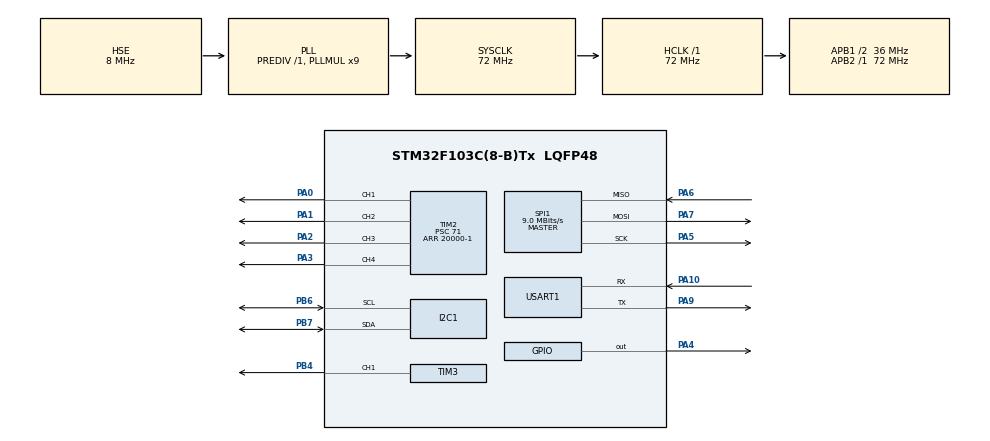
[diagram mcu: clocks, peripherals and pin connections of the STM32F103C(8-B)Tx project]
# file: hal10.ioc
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FREERTOS.Queues01=CMD,16,CommandType_t,0,Dynamic,NULL,NULL
FREERTOS.Tasks01=OLED,25,128,StartOLED,As weak,NULL,Dynamic,NULL,NULL;ACTION,27,128,StartAction,As weak,NULL,Dynamic,NULL,NULL;UART,29,128,StartUART,As weak,NULL,Dynamic,NULL,NULL
I2C1.I2C_Mode=I2C_Fast
Mcu.Family=STM32F1
Mcu.Name=STM32F103C(8-B)Tx
Mcu.Package=LQFP48
NVIC.PriorityGroup=NVIC_PRIORITYGROUP_4
NVIC.TIM4_IRQn=true\:15\:0\:false\:false\:true\:false\:false\:true\:true
NVIC.TimeBase=TIM4_IRQn
NVIC.TimeBaseIP=TIM4
PA0-WKUP.Signal=S_TIM2_CH1_ETR
PA1.Signal=S_TIM2_CH2
PA10.Mode=Asynchronous
PA10.Signal=USART1_RX
PA13.Mode=Serial_Wire
PA13.Signal=SYS_JTMS-SWDIO
PA14.Mode=Serial_Wire
PA14.Signal=SYS_JTCK-SWCLK
PA2.Signal=S_TIM2_CH3
PA3.Signal=S_TIM2_CH4
PA4.GPIO_PuPd=GPIO_PULLUP
PA4.GPIO_Speed=GPIO_SPEED_FREQ_HIGH
PA4.PinState=GPIO_PIN_SET
PA4.Signal=GPIO_Output
PA5.Mode=Full_Duplex_Master
PA5.Signal=SPI1_SCK
PA6.Mode=Full_Duplex_Master
PA6.Signal=SPI1_MISO
PA7.Mode=Full_Duplex_Master
PA7.Signal=SPI1_MOSI
PA9.Mode=Asynchronous
PA9.Signal=USART1_TX
PB4.Signal=S_TIM3_CH1
PB6.Mode=I2C
PB6.Signal=I2C1_SCL
PB7.Mode=I2C
PB7.Signal=I2C1_SDA
PC14-OSC32_IN.Mode=LSE-External-Oscillator
PC14-OSC32_IN.Signal=RCC_OSC32_IN
PC15-OSC32_OUT.Mode=LSE-External-Oscillator
PC15-OSC32_OUT.Signal=RCC_OSC32_OUT
PD0-OSC_IN.Mode=HSE-External-Oscillator
PD0-OSC_IN.Signal=RCC_OSC_IN
PD1-OSC_OUT.Mode=HSE-External-Oscillator
PD1-OSC_OUT.Signal=RCC_OSC_OUT
ProjectManager.HeapSize=0x200
ProjectManager.StackSize=0x400
ProjectManager.TargetToolchain=MDK-ARM V5.32
RCC.AHBFreq_Value=72000000
RCC.APB1CLKDivider=RCC_HCLK_DIV2
RCC.APB1Freq_Value=36000000
RCC.APB1TimFreq_Value=72000000
RCC.APB2Freq_Value=72000000
RCC.APB2TimFreq_Value=72000000
RCC.HCLKFreq_Value=72000000
RCC.PLLMUL=RCC_PLL_MUL9
RCC.PLLSourceVirtual=RCC_PLLSOURCE_HSE
RCC.SYSCLKFreq_VALUE=72000000
RCC.SYSCLKSource=RCC_SYSCLKSOURCE_PLLCLK
RCC.USBFreq_Value=72000000
SH.S_TIM2_CH1_ETR.0=TIM2_CH1,PWM Generation1 CH1
SH.S_TIM2_CH2.0=TIM2_CH2,PWM Generation2 CH2
SH.S_TIM2_CH3.0=TIM2_CH3,PWM Generation3 CH3
SH.S_TIM2_CH4.0=TIM2_CH4,PWM Generation4 CH4
SH.S_TIM3_CH1.0=TIM3_CH1,PWM Generation1 CH1
SPI1.BaudRatePrescaler=SPI_BAUDRATEPRESCALER_8
SPI1.CalculateBaudRate=9.0 MBits/s
SPI1.Direction=SPI_DIRECTION_2LINES
SPI1.Mode=SPI_MODE_MASTER
SPI1.VirtualType=VM_MASTER
TIM2.AutoReloadPreload=TIM_AUTORELOAD_PRELOAD_ENABLE
TIM2.Channel-PWM\ Generation1\ CH1=TIM_CHANNEL_1
TIM2.Channel-PWM\ Generation2\ CH2=TIM_CHANNEL_2
TIM2.Channel-PWM\ Generation3\ CH3=TIM_CHANNEL_3
TIM2.Channel-PWM\ Generation4\ CH4=TIM_CHANNEL_4
TIM2.Period=20000-1
TIM2.Prescaler=71
TIM3.AutoReloadPreload=TIM_AUTORELOAD_PRELOAD_ENABLE
TIM3.Channel-PWM\ Generation1\ CH1=TIM_CHANNEL_1
TIM3.Period=20000-1
TIM3.Prescaler=71
USART1.VirtualMode=VM_ASYNC
VP_FREERTOS_VS_CMSIS_V2.Mode=CMSIS_V2
VP_SYS_VS_tim4.Mode=TIM4
board=custom

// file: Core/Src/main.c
/* USER CODE BEGIN Header */
/**
  ******************************************************************************
  * @file           : main.c
  * @brief          : Main program body
  ******************************************************************************
  * @attention
  *
  * Copyright (c) 2026 STMicroelectronics.
  * All rights reserved.
  *
  * This software is licensed under terms that can be found in the LICENSE file
  * in the root directory of this software component.
  * If no LICENSE file comes with this software, it is provided AS-IS.
  *
  ******************************************************************************
  */
/* USER CODE END Header */
#include "main.h"
#include "cmsis_os.h"
#include "i2c.h"
#include "spi.h"
#include "tim.h"
#include "usart.h"
#include "gpio.h"

/* USER CODE BEGIN Includes */
#include "cmsis_os2.h"
#include "command.h"
#include "bsp_uart.h"
#include <string.h>
/* USER CODE END Includes */

/* USER CODE BEGIN PV */
/* 串口接收缓冲区 - 用于存储从串口接收到的数据 */
uint8_t uart_rx_buffer[10];
/* USER CODE END PV */

void SystemClock_Config(void);
void MX_FREERTOS_Init(void);

/**
  * @brief  应用程序主入口函数
  * @retval int 程序退出码(通常不会返回)
  * @note   这是STM32程序的启动点，按照以下顺序初始化：
  *         1. HAL库初始化
  *         2. 系统时钟配置
  *         3. 外设初始化
  *         4. FreeRTOS任务创建
  *         5. 启动任务调度器
  */
int main(void)
{

  /* USER CODE BEGIN 1 */
  /* 用户自定义初始化代码区域 */
  /* USER CODE END 1 */

  /* MCU Configuration--------------------------------------------------------*/

  /* 复位所有外设，初始化Flash接口和SysTick定时器 */
  HAL_Init();

  /* 配置系统时钟 - 设置CPU主频和外设时钟 */
  SystemClock_Config();

  /* USER CODE BEGIN SysInit */
  /* 用户自定义系统初始化代码区域 */
  /* USER CODE END SysInit */

  /* 初始化所有配置的外设 */
  MX_GPIO_Init();      // GPIO引脚初始化
  MX_I2C1_Init();      // I2C1接口初始化(用于OLED)
  MX_SPI1_Init();      // SPI1接口初始化(用于W25Q64 Flash)
  MX_TIM2_Init();
  MX_TIM3_Init();
  MX_USART1_UART_Init();
  /* USER CODE BEGIN 2 */

  // 启动PWM定时器 - 舵机控制必须启动PWM输出
  HAL_TIM_PWM_Start(&htim2, TIM_CHANNEL_1);  // 舵机1
  HAL_TIM_PWM_Start(&htim2, TIM_CHANNEL_2);  // 舵机2
  HAL_TIM_PWM_Start(&htim2, TIM_CHANNEL_3);  // 舵机3
  HAL_TIM_PWM_Start(&htim2, TIM_CHANNEL_4);  // 舵机4
  HAL_TIM_PWM_Start(&htim3, TIM_CHANNEL_1);  // 尾巴舵机

  // 串口初始化
  BSP_UART_Init();

  // 发送一句话

  /* USER CODE END 2 */

  /* Init scheduler */
  osKernelInitialize();  /* Call init function for freertos objects (in cmsis_os2.c) */
  MX_FREERTOS_Init();

  /* Start scheduler */
  osKernelStart();

  /* We should never get here as control is now taken by the scheduler */

  /* Infinite loop */
  while (1)
  {

  }
}

void SystemClock_Config(void)
{
  RCC_OscInitTypeDef RCC_OscInitStruct = {0};
  RCC_ClkInitTypeDef RCC_ClkInitStruct = {0};

  /** Initializes the RCC Oscillators according to the specified parameters
  * in the RCC_OscInitTypeDef structure.
  */
  RCC_OscInitStruct.OscillatorType = RCC_OSCILLATORTYPE_HSE;
  RCC_OscInitStruct.HSEState = RCC_HSE_ON;
  RCC_OscInitStruct.HSEPredivValue = RCC_HSE_PREDIV_DIV1;
  RCC_OscInitStruct.HSIState = RCC_HSI_ON;
  RCC_OscInitStruct.PLL.PLLState = RCC_PLL_ON;
  RCC_OscInitStruct.PLL.PLLSource = RCC_PLLSOURCE_HSE;
  RCC_OscInitStruct.PLL.PLLMUL = RCC_PLL_MUL9;
  if (HAL_RCC_OscConfig(&RCC_OscInitStruct) != HAL_OK)
  {
    Error_Handler();
  }

  /** Initializes the CPU, AHB and APB buses clocks
  */
  RCC_ClkInitStruct.ClockType = RCC_CLOCKTYPE_HCLK|RCC_CLOCKTYPE_SYSCLK
                              |RCC_CLOCKTYPE_PCLK1|RCC_CLOCKTYPE_PCLK2;
  RCC_ClkInitStruct.SYSCLKSource = RCC_SYSCLKSOURCE_PLLCLK;
  RCC_ClkInitStruct.AHBCLKDivider = RCC_SYSCLK_DIV1;
  RCC_ClkInitStruct.APB1CLKDivider = RCC_HCLK_DIV2;
  RCC_ClkInitStruct.APB2CLKDivider = RCC_HCLK_DIV1;

  if (HAL_RCC_ClockConfig(&RCC_ClkInitStruct, FLASH_LATENCY_2) != HAL_OK)
  {
    Error_Handler();
  }
}

void HAL_TIM_PeriodElapsedCallback(TIM_HandleTypeDef *htim)
{
  if (htim->Instance == TIM4)
  {
    HAL_IncTick();
  }
}

void Error_Handler(void)
{
  __disable_irq();
  while (1)
  {
  }
}

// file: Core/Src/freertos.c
/* USER CODE BEGIN Header */
/**
  ******************************************************************************
  * File Name          : freertos.c
  * Description        : Code for freertos applications
  ******************************************************************************
  * @attention
  *
  * Copyright (c) 2026 STMicroelectronics.
  * All rights reserved.
  *
  * This software is licensed under terms that can be found in the LICENSE file
  * in the root directory of this software component.
  * If no LICENSE file comes with this software, it is provided AS-IS.
  *
  ******************************************************************************
  */
/* USER CODE END Header */

#include "FreeRTOS.h"
#include "task.h"
#include "main.h"
#include "cmsis_os.h"

/* USER CODE BEGIN Includes */
#include "bsp_oled_debug.h"
#include "w25q64.h"
#include "tim.h"
#include "action.h"
#include "command.h"
#include "bsp_ota_boot.h"
#include "bsp_uart.h"
#include <stdio.h>
#include <stdarg.h>
#include <string.h>
/* USER CODE END Includes */

/* USER CODE BEGIN Variables */
/* 串口接收完成标志 */
volatile uint8_t uart_rx_complete = 0;  // 用于指示串口接收是否完成
/* USER CODE END Variables */
/* FreeRTOS任务和队列定义 */

/* OLED显示任务定义 */
osThreadId_t OLEDHandle;  // OLED任务句柄
const osThreadAttr_t OLED_attributes = {
  .name = "OLED",           // 任务名称
  .stack_size = 128 * 4,     // 堆栈大小(512字节)
  .priority = (osPriority_t) osPriorityNormal1,  // 任务优先级
};
/* 动作控制任务定义 */
osThreadId_t ACTIONHandle;  // 动作任务句柄
const osThreadAttr_t ACTION_attributes = {
  .name = "ACTION",          // 任务名称
  .stack_size = 128 * 4,     // 堆栈大小(512字节)
  .priority = (osPriority_t) osPriorityNormal3,  // 任务优先级(高于OLED任务)
};
/* 串口通信任务定义 */
osThreadId_t UARTHandle;  // 串口任务句柄
const osThreadAttr_t UART_attributes = {
  .name = "UART",           // 任务名称
  .stack_size = 128 * 4,     // 堆栈大小(512字节)
  .priority = (osPriority_t) osPriorityNormal5,  // 任务优先级(最高)
};
/* 指令消息队列定义 */
osMessageQueueId_t CMDHandle;  // 指令队列句柄
const osMessageQueueAttr_t CMD_attributes = {
  .name = "CMD"  // 队列名称
};

/* USER CODE BEGIN FunctionPrototypes */
/**
  * @brief  串口调试打印函数
  * @param  fmt: 格式化字符串
  * @param  ...: 可变参数
  * @retval None
  * @note   用于通过串口输出调试信息，支持格式化字符串
  */
static void UART_DebugPrintf(const char *fmt, ...);

/* USER CODE END FunctionPrototypes */

void StartOLED(void *argument);
void StartAction(void *argument);
void StartUART(void *argument);

void MX_FREERTOS_Init(void); /* (MISRA C 2004 rule 8.1) */

void MX_FREERTOS_Init(void) {

  /* Create the queue(s) */
  /* creation of CMD */
  CMDHandle = osMessageQueueNew (16, sizeof(CommandType_t), &CMD_attributes);

  /* USER CODE BEGIN RTOS_QUEUES */
  /* 使用系统生成的CMD队列，无需创建额外队列 */
  /* USER CODE END RTOS_QUEUES */

  /* Create the thread(s) */
  /* creation of OLED */
  OLEDHandle = osThreadNew(StartOLED, NULL, &OLED_attributes);

  /* creation of ACTION */
  ACTIONHandle = osThreadNew(StartAction, NULL, &ACTION_attributes);

  /* creation of UART */
  UARTHandle = osThreadNew(StartUART, NULL, &UART_attributes);

}

static void UART_DebugPrintf(const char *fmt, ...)
{
  char buffer[UART_TX_BUFFER_SIZE];
  va_list args;

  if (BSP_OTA_UART_IsQuietWindowActive()) {
    return;
  }

  va_start(args, fmt);
  vsnprintf(buffer, sizeof(buffer), fmt, args);
  va_end(args);

  BSP_UART_Send((uint8_t *)buffer, (uint16_t)strlen(buffer));
}

__weak void StartOLED(void *argument)
{
  /* USER CODE BEGIN StartOLED */
  static unsigned char face_buffer[1024]; // 表情数据缓冲区
  CommandType_t last_command = CMD_NONE; // 记录上次显示的指令

  // OLED初始化
  OLED_Init();
  OLED_CLS();

  // 显示初始表情
  W25Q64_Read_Data(BMP4_STORAGE_ADDR, face_buffer, FACE_SIZE);
  OLED_DrawBMP(0, 0, 128, 8, face_buffer);

  /* Infinite loop */
  for(;;)
  {
    // 检查当前指令状态
    CommandType_t current_cmd = GetCurrentCommand();

    // 只有当指令发生变化时才更新显示
    if (current_cmd != last_command)
    {
      last_command = current_cmd;

      if (current_cmd != CMD_NONE && current_cmd != CMD_STOP)
      {
        // 根据指令获取对应的表情数据
        const CommandData_t* cmd_data = GetCommandData(current_cmd);
        if (cmd_data && cmd_data->face_addr != 0)
        {
          // 读取并显示对应的表情
          W25Q64_Read_Data(cmd_data->face_addr, face_buffer, FACE_SIZE);
          OLED_CLS();
		  osDelay(100);
          OLED_DrawBMP(0, 0, 128, 8, face_buffer);
        }
      }
      else if (current_cmd == CMD_STOP || current_cmd == CMD_NONE)
      {
        // 停止显示，清屏，显示初始表情
        W25Q64_Read_Data(BMP4_STORAGE_ADDR, face_buffer, FACE_SIZE);
        OLED_CLS();
		osDelay(100);
        OLED_DrawBMP(0, 0, 128, 8, face_buffer);
      }
    }

    // 短暂延迟
    osDelay(100);
  }
  /* USER CODE END StartOLED */
}

__weak void StartAction(void *argument)
{
  /* USER CODE BEGIN StartAction */
  CommandType_t received_cmd;
  uint32_t action_start_time = 0;
  uint16_t action_duration = 0;
  CommandType_t current_processing_cmd = CMD_NONE;

  // 初始化舵机到站立位置
  Action_upright();
  osDelay(500);

  /* Infinite loop */
  for(;;)
  {
    // 非阻塞方式检查是否有新指令（不等待，立即返回）
    if (osMessageQueueGet(CMDHandle, &received_cmd, NULL, 0) == osOK)
    {
      UART_DebugPrintf("[ACTION] Got cmd: %d, current: %d\r\n", received_cmd, current_processing_cmd);

      // 如果收到停止命令
      if (received_cmd == CMD_STOP)
      {
        UART_DebugPrintf("[ACTION] Stopping current action\r\n");
        Action_Mode = 0;
        Action_upright();
        osDelay(100); // 确保动作停止
        current_processing_cmd = CMD_NONE;
        CurrentCommand = CMD_NONE;
      }
      // 如果收到新命令且与当前处理命令不同
      else if (received_cmd != current_processing_cmd)
      {
        UART_DebugPrintf("[ACTION] Switching to new action\r\n");
        // 先停止当前动作
        Action_Mode = 0;
        Action_upright();
        osDelay(100); // 确保动作停止

        // 设置新命令
        current_processing_cmd = received_cmd;
        CurrentCommand = received_cmd;

        // 获取命令数据并开始执行
        const CommandData_t* cmd_data = GetCommandData(current_processing_cmd);
        if (cmd_data)
        {
          Action_Mode = cmd_data->action_mode;
          action_duration = cmd_data->duration;
          action_start_time = osKernelGetTickCount();
          UART_DebugPrintf("[ACTION] Starting action mode: %d, duration: %d\r\n",
                           Action_Mode, action_duration);
        }
      }
      // 收到相同命令，重新开始计时
      else if (received_cmd == current_processing_cmd)
      {
        UART_DebugPrintf("[ACTION] Restarting current action timer\r\n");
        const CommandData_t* cmd_data = GetCommandData(current_processing_cmd);
        if (cmd_data)
        {
          action_start_time = osKernelGetTickCount();
        }
      }
    }

    // 执行当前动作
    if (current_processing_cmd != CMD_NONE && current_processing_cmd != CMD_STOP)
    {
      // 检查动作持续时间
      if (action_duration > 0 &&
          (osKernelGetTickCount() - action_start_time) >= action_duration)
      {
        // 动作时间到，停止动作
        UART_DebugPrintf("[ACTION] Action timeout, stopping\r\n");
        Action_Mode = 0;
        Action_upright();
        current_processing_cmd = CMD_NONE;
        CurrentCommand = CMD_NONE;
      }
      else
      {
        // 执行对应的动作（非阻塞式）
        switch(Action_Mode)
        {
          case MODE_ADVANCE:
            Action_advance();
            break;
          case MODE_BACK:
            Action_back();
            break;
          case MODE_LROTATION:
            Action_Lrotation();
            break;
          case MODE_RROTATION:
            Action_Rrotation();
            break;
          case MODE_SWING:
            Action_Swing();
            break;
          case MODE_SWINGTAIL:
            Action_SwingTail();
            break;
		  case MODE_SIT:
            Action_sit();
            break;
		  case MODE_RELAX:
            Action_relaxed_getdowm();
            break;
		  case MODE_DOWN:
            Action_getdowm();
            break;
		  case MODE_STAND:
            Action_upright();
            break;
          default:
            UART_DebugPrintf("[ACTION] Unknown action mode: %d\r\n", Action_Mode);
            break;
        }
      }
    }

    // 短暂延迟，让出CPU时间片，同时允许其他任务执行
    osDelay(10);
  }
  /* USER CODE END StartAction */
}

void StartUART(void *argument)
{
  /* USER CODE BEGIN StartUART */
  // 串口任务变量
  uint8_t uart_rx_char;
  uint32_t last_status_time = 0;

  BSP_OTA_UART_Reset();

  // 发送欢迎信息
  UART_DebugPrintf("\r\n=== UART Task Started ===\r\n");
  UART_DebugPrintf("System Clock: %lu Hz\r\n", HAL_RCC_GetSysClockFreq());
  UART_DebugPrintf("Baud Rate: 115200\r\n");
  UART_DebugPrintf("Protocol: Single byte command (0x11, 0x22, ...)\r\n");
  UART_DebugPrintf("=========================\r\n\r\n");

  // 启动串口接收中断
  HAL_UART_Receive_IT(&huart1, &uart_rx_char, 1);

  /* Infinite loop */
  for(;;)
  {
    // 检查是否有数据接收完成
    if (uart_rx_complete)
    {
      uart_rx_complete = 0;

      BSP_OtaUartState_t ota_state = BSP_OTA_UART_HandleByte(uart_rx_char);
      if (ota_state == BSP_OTA_UART_MATCHED)
      {
        BSP_OTA_UART_EnterBootloader();
      }
      if (ota_state != BSP_OTA_UART_IDLE)
      {
        HAL_UART_Receive_IT(&huart1, &uart_rx_char, 1);
        continue;
      }

      UART_DebugPrintf("[RX] Received: 0x%02X\r\n", uart_rx_char);

      // 根据接收到的字节执行对应命令
      switch(uart_rx_char)
      {
        case 0x11:
          UART_DebugPrintf("[CMD] Sending Happy command\r\n");
          SendCommand(CMD_HAPPY);
          break;
        case 0x22:
          UART_DebugPrintf("[CMD] Sending Sad command\r\n");
          SendCommand(CMD_SAD);
          break;
        case 0x33:
          UART_DebugPrintf("[CMD] Sending Angry command\r\n");
          SendCommand(CMD_ANGRY);
          break;
        case 0x44:
          UART_DebugPrintf("[CMD] Sending Surprise command\r\n");
          SendCommand(CMD_SURPRISE);
          break;
        case 0xBB:
          UART_DebugPrintf("[CMD] Sending Love command\r\n");
          SendCommand(CMD_LOVE);
          break;
        case 0x66:
          UART_DebugPrintf("[CMD] Sending Shy command\r\n");
          SendCommand(CMD_SHY);
          break;
        case 0x77:
          UART_DebugPrintf("[CMD] Sending Fear command\r\n");
          SendCommand(CMD_FEAR);
          break;
        case 0x88:
          UART_DebugPrintf("[CMD] Sending Relax command\r\n");
          SendCommand(CMD_RELAX);
          break;
        case 0x99:
          UART_DebugPrintf("[CMD] Sending Excited command\r\n");
          SendCommand(CMD_EXCITED);
          break;
        case 0xCC:
          UART_DebugPrintf("[CMD] Sending Down command\r\n");
          SendCommand(CMD_DOWN);
          break;
        case 0xDD:
          UART_DebugPrintf("[CMD] Sending Stop command\r\n");
          SendCommand(CMD_STOP);
          break;
        default:
          UART_DebugPrintf("[CMD] Unknown command: 0x%02X\r\n", uart_rx_char);
          break;
      }

      // 重新启动接收中断
      HAL_UART_Receive_IT(&huart1, &uart_rx_char, 1);
    }

    // 定期发送状态信息（每15秒）
    if ((HAL_GetTick() - last_status_time > 15000) &&
        !BSP_OTA_UART_IsQuietWindowActive()) {
      last_status_time = HAL_GetTick();
      UART_DebugPrintf("[Status] UART Task Running, Tick: %lu, Free Heap: %u\r\n",
                       HAL_GetTick(), xPortGetFreeHeapSize());
    }

    // 短暂延时，让其他任务有机会运行
    osDelay(10);
  }
  /* USER CODE END StartUART */
}

/**
  * @brief  串口接收完成中断回调函数
  * @param  huart: 串口句柄
  * @retval None
  */
void HAL_UART_RxCpltCallback(UART_HandleTypeDef *huart)
{
    if (huart->Instance == USART1) {
        /* 设置接收完成标志 */
        uart_rx_complete = 1;
    }
}
